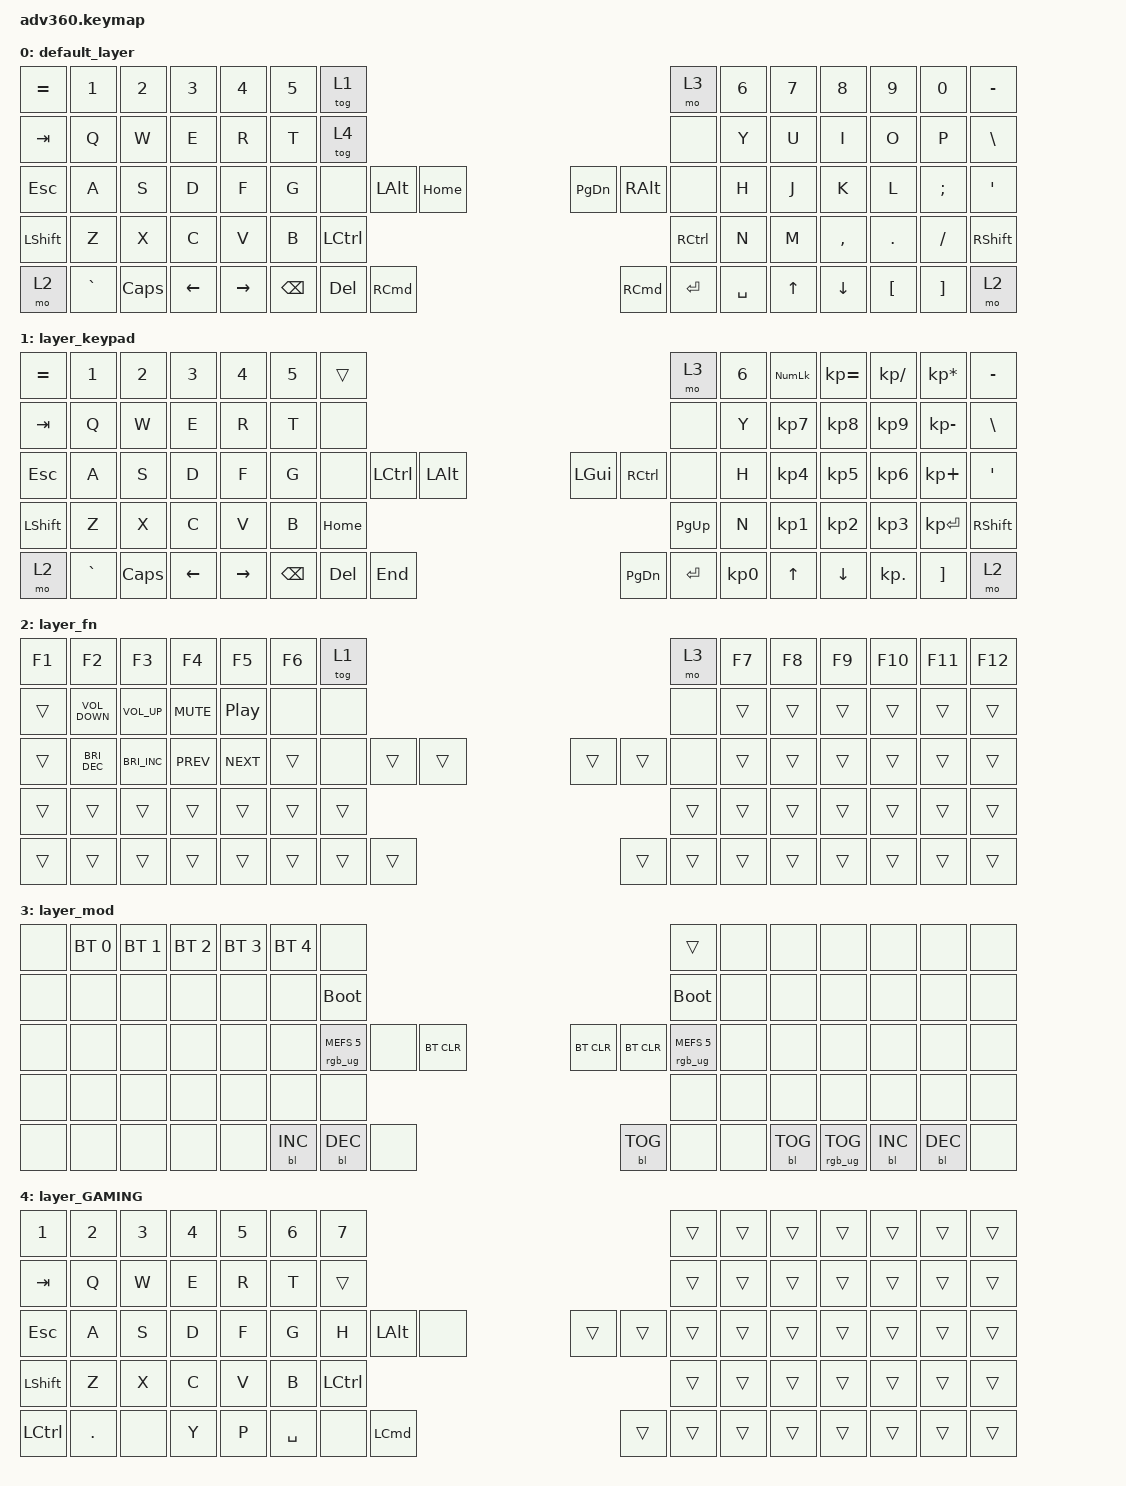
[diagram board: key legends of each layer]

/*
 * Copyright (c) 2020 The ZMK Contributors
 *
 * SPDX-License-Identifier: MIT
 */


/* THIS FILE WAS GENERATED!
 *
 * This file was generated automatically. You may or may not want to
 * edit it directly.
 */

#include <behaviors.dtsi>
#include <dt-bindings/zmk/keys.h>
#include <dt-bindings/zmk/bt.h>
#include <dt-bindings/zmk/rgb.h>
#include <dt-bindings/zmk/backlight.h>

/ {
  behaviors {
    #include "macros.dtsi"

    hm: homerow_mods {
        compatible = "zmk,behavior-hold-tap";
        label = "HOMEROW_MODS";
        #binding-cells = <2>;
        tapping-term-ms = <200>;
        quick_tap_ms = <175>;
        flavor = "tap-preferred";
        bindings = <&kp>, <&kp>;
    };
  };

    keymap {
        compatible = "zmk,keymap";


        default_layer {
            bindings = <
 &kp EQUAL     &kp N1    &kp N2    &kp N3     &kp N4  &kp N5              &tog 1                                                                                 &mo 3  &kp N6  &kp N7     &kp N8    &kp N9    &kp N0  &kp MINUS
   &kp TAB      &kp Q     &kp W     &kp E      &kp R   &kp T              &tog 4                                                                                 &none   &kp Y   &kp U      &kp I     &kp O     &kp P   &kp BSLH
   &kp ESC      &kp A     &kp S     &kp D      &kp F   &kp G               &none  &kp LALT           &kp HOME                          &kp PG_DN   &kp RALT      &none   &kp H   &kp J      &kp K     &kp L  &kp SEMI    &kp SQT
 &kp LSHFT      &kp Z     &kp X     &kp C      &kp V   &kp B                                        &kp LCTRL                          &kp RCTRL                         &kp N   &kp M  &kp COMMA   &kp DOT  &kp FSLH  &kp RSHFT
     &mo 2  &kp GRAVE  &kp CAPS  &kp LEFT  &kp RIGHT                    &kp BSPC   &kp DEL  &kp RIGHT_COMMAND                  &kp RIGHT_COMMAND  &kp ENTER  &kp SPACE          &kp UP   &kp DOWN  &kp LBKT  &kp RBKT      &mo 2
            >;
        };

        layer_keypad {
            bindings = <
 &kp EQUAL     &kp N1    &kp N2    &kp N3     &kp N4  &kp N5              &trans                                                                 &mo 3  &kp N6  &kp KP_NUM  &kp KP_EQUAL  &kp KP_DIVIDE  &kp KP_MULTIPLY  &kp MINUS
   &kp TAB      &kp Q     &kp W     &kp E      &kp R   &kp T               &none                                                                 &none   &kp Y   &kp KP_N7     &kp KP_N8      &kp KP_N9     &kp KP_MINUS   &kp BSLH
   &kp ESC      &kp A     &kp S     &kp D      &kp F   &kp G               &none  &kp LCTRL  &kp LALT                   &kp LGUI  &kp RCTRL      &none   &kp H   &kp KP_N4     &kp KP_N5      &kp KP_N6      &kp KP_PLUS    &kp SQT
 &kp LSHFT      &kp Z     &kp X     &kp C      &kp V   &kp B                                 &kp HOME                  &kp PG_UP                         &kp N   &kp KP_N1     &kp KP_N2      &kp KP_N3     &kp KP_ENTER  &kp RSHFT
     &mo 2  &kp GRAVE  &kp CAPS  &kp LEFT  &kp RIGHT                    &kp BSPC    &kp DEL   &kp END                  &kp PG_DN  &kp ENTER  &kp KP_N0              &kp UP      &kp DOWN     &kp KP_DOT         &kp RBKT      &mo 2
            >;
        };

        layer_fn {
            bindings = <
 &kp F1                &kp F2                &kp F3      &kp F4            &kp F5  &kp F6            &tog 1                                                   &mo 3  &kp F7  &kp F8  &kp F9  &kp F10  &kp F11  &kp F12
 &trans     &kp C_VOLUME_DOWN       &kp C_VOLUME_UP  &kp C_MUTE  &kp C_PLAY_PAUSE   &none             &none                                                   &none  &trans  &trans  &trans   &trans   &trans   &trans
 &trans  &kp C_BRIGHTNESS_DEC  &kp C_BRIGHTNESS_INC  &kp C_PREV        &kp C_NEXT  &trans             &none  &trans  &trans                  &trans  &trans   &none  &trans  &trans  &trans   &trans   &trans   &trans
 &trans                &trans                &trans      &trans            &trans  &trans                            &trans                  &trans                  &trans  &trans  &trans   &trans   &trans   &trans
 &trans                &trans                &trans      &trans            &trans                    &trans  &trans  &trans                  &trans  &trans  &trans          &trans  &trans   &trans   &trans   &trans
            >;
        };

        layer_mod {
            bindings = <
  &none  &bt BT_SEL 0  &bt BT_SEL 1  &bt BT_SEL 2  &bt BT_SEL 3  &bt BT_SEL 4                             &none                                                                                  &trans   &none       &none            &none       &none       &none   &none
  &none         &none         &none         &none         &none         &none                       &bootloader                                                                             &bootloader   &none       &none            &none       &none       &none   &none
  &none         &none         &none         &none         &none         &none            &rgb_ug RGB_MEFS_CMD 5       &none  &bt BT_CLR                  &bt BT_CLR  &bt BT_CLR  &rgb_ug RGB_MEFS_CMD 5   &none       &none            &none       &none       &none   &none
  &none         &none         &none         &none         &none         &none                                                     &none                       &none                                       &none       &none            &none       &none       &none   &none
  &none         &none         &none         &none         &none                                      &bl BL_INC  &bl BL_DEC       &none                  &bl BL_TOG       &none                   &none          &bl BL_TOG  &rgb_ug RGB_TOG  &bl BL_INC  &bl BL_DEC   &none
            >;
        };

        layer_GAMING {
            bindings = <
           &kp N1   &kp N2  &kp N3  &kp N4  &kp N5  &kp N6               &kp N7                                                                  &trans  &trans  &trans  &trans  &trans  &trans  &trans
          &kp TAB    &kp Q   &kp W   &kp E   &kp R   &kp T               &trans                                                                  &trans  &trans  &trans  &trans  &trans  &trans  &trans
          &kp ESC    &kp A   &kp S   &kp D   &kp F   &kp G                &kp H  &kp LEFT_ALT             &none                  &trans  &trans  &trans  &trans  &trans  &trans  &trans  &trans  &trans
   &kp LEFT_SHIFT    &kp Z   &kp X   &kp C   &kp V   &kp B                                     &kp LEFT_CONTROL                  &trans                  &trans  &trans  &trans  &trans  &trans  &trans
 &kp LEFT_CONTROL  &kp DOT   &none   &kp Y   &kp P                    &kp SPACE         &none  &kp LEFT_COMMAND                  &trans  &trans  &trans          &trans  &trans  &trans  &trans  &trans
            >;
        };

    };
};
